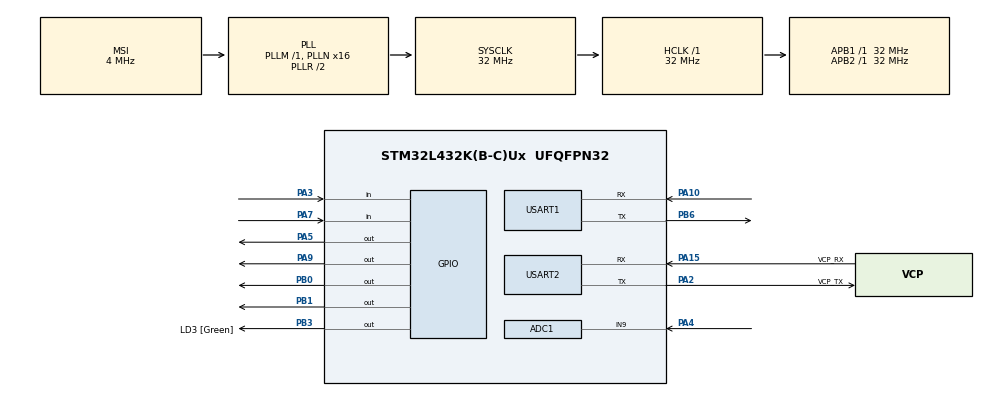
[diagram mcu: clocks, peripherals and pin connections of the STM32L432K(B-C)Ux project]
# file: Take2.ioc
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ADC1.Channel-0\#ChannelRegularConversion=ADC_CHANNEL_9
ADC1.ContinuousConvMode=ENABLE
ADC1.DMAContinuousRequests=DISABLE
ADC1.EOCSelection=ADC_EOC_SINGLE_CONV
ADC1.NbrOfConversion=1
ADC1.NbrOfConversionFlag=1
ADC1.OffsetNumber-0\#ChannelRegularConversion=ADC_OFFSET_NONE
ADC1.Overrun=ADC_OVR_DATA_OVERWRITTEN
ADC1.Rank-0\#ChannelRegularConversion=1
ADC1.SamplingTime-0\#ChannelRegularConversion=ADC_SAMPLETIME_2CYCLES_5
ADC1.master=1
Mcu.Family=STM32L4
Mcu.Name=STM32L432K(B-C)Ux
Mcu.Package=UFQFPN32
NVIC.PriorityGroup=NVIC_PRIORITYGROUP_4
PA0.GPIO_Label=MCO [High speed clock in]
PA0.Signal=RCC_CK_IN
PA10.Mode=Asynchronous
PA10.Signal=USART1_RX
PA13\ (JTMS-SWDIO).GPIO_Label=SWDIO
PA13\ (JTMS-SWDIO).Mode=Serial_Wire
PA13\ (JTMS-SWDIO).Signal=SYS_JTMS-SWDIO
PA14\ (JTCK-SWCLK).GPIO_Label=SWCLK
PA14\ (JTCK-SWCLK).Mode=Serial_Wire
PA14\ (JTCK-SWCLK).Signal=SYS_JTCK-SWCLK
PA15\ (JTDI).GPIO_Label=VCP_RX
PA15\ (JTDI).Mode=Asynchronous
PA15\ (JTDI).Signal=USART2_RX
PA2.GPIO_Label=VCP_TX
PA2.Mode=Asynchronous
PA2.Signal=USART2_TX
PA3.Signal=GPIO_Input
PA4.Signal=ADCx_IN9
PA5.Signal=GPIO_Output
PA7.Signal=GPIO_Input
PA9.Signal=GPIO_Output
PB0.Signal=GPIO_Output
PB1.Signal=GPIO_Output
PB3\ (JTDO-TRACESWO).GPIO_Label=LD3 [Green]
PB3\ (JTDO-TRACESWO).Signal=GPIO_Output
PB6.Mode=Asynchronous
PB6.Signal=USART1_TX
PC14-OSC32_IN\ (PC14).Mode=LSE-External-Oscillator
PC14-OSC32_IN\ (PC14).Signal=RCC_OSC32_IN
PC15-OSC32_OUT\ (PC15).Mode=LSE-External-Oscillator
PC15-OSC32_OUT\ (PC15).Signal=RCC_OSC32_OUT
ProjectManager.HeapSize=0x200
ProjectManager.StackSize=0x400
ProjectManager.TargetToolchain=MDK-ARM V5.27
RCC.ADCFreq_Value=32000000
RCC.AHBFreq_Value=32000000
RCC.APB1Freq_Value=32000000
RCC.APB1TimFreq_Value=32000000
RCC.APB2Freq_Value=32000000
RCC.APB2TimFreq_Value=32000000
RCC.CortexFreq_Value=32000000
RCC.HCLKFreq_Value=32000000
RCC.HSE_VALUE=8000000
RCC.HSI16_VALUE=16000000
RCC.HSI48_VALUE=48000000
RCC.HSI_VALUE=16000000
RCC.MSI_VALUE=4000000
RCC.PLLMUL=RCC_PLLMUL_4
RCC.PLLN=16
RCC.PLLSAI1N=16
RCC.SYSCLKFreq_VALUE=32000000
RCC.SYSCLKSource=RCC_SYSCLKSOURCE_PLLCLK
RCC.USBFreq_Value=32000000
RCC.VCOOutputFreq_Value=64000000
SH.ADCx_IN9.0=ADC1_IN9,IN9-Single-Ended
USART1.VirtualMode-Asynchronous=VM_ASYNC
USART2.VirtualMode-Asynchronous=VM_ASYNC
board=NUCLEO-L432KC

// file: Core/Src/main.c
/* USER CODE BEGIN Header */
/**
  ******************************************************************************
  * @file           : main.c
  * @brief          : Main program body
  ******************************************************************************
  * @attention
  *
  * <h2><center>&copy; Copyright (c) 2023 STMicroelectronics.
  * All rights reserved.</center></h2>
  *
  * This software component is licensed by ST under BSD 3-Clause license,
  * the "License"; You may not use this file except in compliance with the
  * License. You may obtain a copy of the License at:
  *                        opensource.org/licenses/BSD-3-Clause
  *
  ******************************************************************************
  */
/* USER CODE END Header */
#include "main.h"

/* USER CODE BEGIN Includes */
#include "stdio.h"
#include "MY_DHT22.h"
#include "stm32l4xx_hal.h"
/* USER CODE END Includes */

ADC_HandleTypeDef hadc1;

UART_HandleTypeDef huart1;
UART_HandleTypeDef huart2;

/* USER CODE BEGIN PV */

uint8_t temp;
char uartbuf[50];
char uartbuf3[100];
uint8_t readValue;
uint8_t readValue2;
int LS;
//uint32_t value[2];
/* USER CODE END PV */

void SystemClock_Config(void);
static void MX_GPIO_Init(void);
static void MX_USART2_UART_Init(void);
static void MX_ADC1_Init(void);
static void MX_USART1_UART_Init(void);

/* USER CODE BEGIN 0 */
  float tempy,humidity;
	char uartData[50];
	char uartData2[50];
/* USER CODE END 0 */

int main(void)
{

  /* MCU Configuration--------------------------------------------------------*/

  /* Reset of all peripherals, Initializes the Flash interface and the Systick. */
  HAL_Init();

  /* Configure the system clock */
  SystemClock_Config();

  /* Initialize all configured peripherals */
  MX_GPIO_Init();
  MX_USART2_UART_Init();
  MX_ADC1_Init();
  MX_USART1_UART_Init();
  /* USER CODE BEGIN 2 */
	HAL_ADC_Start(&hadc1);
	HAL_GPIO_WritePin(GPIOB, GPIO_PIN_1,GPIO_PIN_RESET);
	HAL_GPIO_WritePin(GPIOB, GPIO_PIN_0,GPIO_PIN_RESET);
	/*if (HAL_I2C_IsDeviceReady(&hi2c1, 0xD0, 10, HAL_MAX_DELAY) == HAL_OK){
		 for (int i = 1; i<=10;i++) // indicator of ready device
		 {
			 HAL_GPIO_TogglePin(GPIOB, GPIO_PIN_3);
			 HAL_Delay(250);
		 }}

	uint8_t temphigh[2],templow[2];
	char uartBuf[2];*/
	DHT22_Init(GPIOA,GPIO_PIN_5);

  /* USER CODE END 2 */

  /* Infinite loop */
  /* USER CODE BEGIN WHILE */
  while (1)
  {

		if(DHT22_GetTemp_Humidity(&tempy, &humidity) == 1)
		{
			if(tempy<=30.0f && humidity <= 90.0f){
				HAL_GPIO_WritePin(GPIOB, GPIO_PIN_1,GPIO_PIN_SET);
				//HAL_GPIO_TogglePin(GPIOB, GPIO_PIN_1);
			}
			else{
				HAL_GPIO_WritePin(GPIOB, GPIO_PIN_1,GPIO_PIN_RESET);
			}
			sprintf(uartData, "\r\nTemp (C) =\t %.1f\r\nHumidity (%%) =\t %.1f%%\r\n", tempy, humidity);
			HAL_UART_Transmit(&huart2, (uint8_t *)uartData, sizeof(uartData), 10);

		}
		else
		{
			sprintf(uartData, "\r\nCRC Error!\r\n");
			HAL_UART_Transmit(&huart2, (uint8_t *)uartData, sizeof(uartData), 10);
		}
			//	HAL_GPIO_WritePin(GPIOB, GPIO_PIN_1,GPIO_PIN_SET);

		HAL_ADC_PollForConversion(&hadc1,1000);
		readValue= HAL_ADC_GetValue(&hadc1);
		HAL_GPIO_WritePin(GPIOB, GPIO_PIN_0,GPIO_PIN_RESET);
		if(readValue <= 150)
		{
				HAL_GPIO_WritePin(GPIOB, GPIO_PIN_0,GPIO_PIN_SET);
		}
		else
		{
				HAL_GPIO_WritePin(GPIOB, GPIO_PIN_0,GPIO_PIN_RESET);
		}
		sprintf(uartbuf, "Soil VWC = %d\r\n",readValue);
		HAL_UART_Transmit(&huart2, (uint8_t *)uartbuf, sizeof(uartbuf), 10);

		HAL_UART_Receive(&huart1,&readValue2,sizeof(readValue2),10);
		sprintf(uartbuf3, "Light Sensitivity = %d\r\n",readValue2);

		HAL_UART_Transmit(&huart2, (uint8_t *)uartbuf3, sizeof(uartbuf3), 10);

//		HAL_ADC_PollForConversion(&hadc1,1000);
//		readValue= HAL_ADC_GetValue(&hadc1);
//		sprintf(uartbuf, "Light Intensity = %d\r\n",readValue);
//		HAL_UART_Transmit(&huart2, (uint8_t *)uartbuf, sizeof(uartbuf), 10);

//		LS=HAL_GPIO_ReadPin(GPIOA,GPIO_PIN_3);
//			sprintf(uartData2, "Light Detection = %d\r\n",LS );
//			HAL_UART_Transmit(&huart2, (uint8_t *)uartData2, sizeof(uartData2), 10);

		//Switch on the bulb - Activate relay
		HAL_Delay(1000);
    /* USER CODE END WHILE */

  }
}

void SystemClock_Config(void)
{
  RCC_OscInitTypeDef RCC_OscInitStruct = {0};
  RCC_ClkInitTypeDef RCC_ClkInitStruct = {0};
  RCC_PeriphCLKInitTypeDef PeriphClkInit = {0};

  /** Configure LSE Drive Capability
  */
  HAL_PWR_EnableBkUpAccess();
  __HAL_RCC_LSEDRIVE_CONFIG(RCC_LSEDRIVE_LOW);
  /** Initializes the RCC Oscillators according to the specified parameters
  * in the RCC_OscInitTypeDef structure.
  */
  RCC_OscInitStruct.OscillatorType = RCC_OSCILLATORTYPE_LSE|RCC_OSCILLATORTYPE_MSI;
  RCC_OscInitStruct.LSEState = RCC_LSE_ON;
  RCC_OscInitStruct.MSIState = RCC_MSI_ON;
  RCC_OscInitStruct.MSICalibrationValue = 0;
  RCC_OscInitStruct.MSIClockRange = RCC_MSIRANGE_6;
  RCC_OscInitStruct.PLL.PLLState = RCC_PLL_ON;
  RCC_OscInitStruct.PLL.PLLSource = RCC_PLLSOURCE_MSI;
  RCC_OscInitStruct.PLL.PLLM = 1;
  RCC_OscInitStruct.PLL.PLLN = 16;
  RCC_OscInitStruct.PLL.PLLP = RCC_PLLP_DIV7;
  RCC_OscInitStruct.PLL.PLLQ = RCC_PLLQ_DIV2;
  RCC_OscInitStruct.PLL.PLLR = RCC_PLLR_DIV2;
  if (HAL_RCC_OscConfig(&RCC_OscInitStruct) != HAL_OK)
  {
    Error_Handler();
  }
  /** Initializes the CPU, AHB and APB buses clocks
  */
  RCC_ClkInitStruct.ClockType = RCC_CLOCKTYPE_HCLK|RCC_CLOCKTYPE_SYSCLK
                              |RCC_CLOCKTYPE_PCLK1|RCC_CLOCKTYPE_PCLK2;
  RCC_ClkInitStruct.SYSCLKSource = RCC_SYSCLKSOURCE_PLLCLK;
  RCC_ClkInitStruct.AHBCLKDivider = RCC_SYSCLK_DIV1;
  RCC_ClkInitStruct.APB1CLKDivider = RCC_HCLK_DIV1;
  RCC_ClkInitStruct.APB2CLKDivider = RCC_HCLK_DIV1;

  if (HAL_RCC_ClockConfig(&RCC_ClkInitStruct, FLASH_LATENCY_1) != HAL_OK)
  {
    Error_Handler();
  }
  PeriphClkInit.PeriphClockSelection = RCC_PERIPHCLK_USART1|RCC_PERIPHCLK_USART2
                              |RCC_PERIPHCLK_ADC;
  PeriphClkInit.Usart1ClockSelection = RCC_USART1CLKSOURCE_PCLK2;
  PeriphClkInit.Usart2ClockSelection = RCC_USART2CLKSOURCE_PCLK1;
  PeriphClkInit.AdcClockSelection = RCC_ADCCLKSOURCE_PLLSAI1;
  PeriphClkInit.PLLSAI1.PLLSAI1Source = RCC_PLLSOURCE_MSI;
  PeriphClkInit.PLLSAI1.PLLSAI1M = 1;
  PeriphClkInit.PLLSAI1.PLLSAI1N = 16;
  PeriphClkInit.PLLSAI1.PLLSAI1P = RCC_PLLP_DIV7;
  PeriphClkInit.PLLSAI1.PLLSAI1Q = RCC_PLLQ_DIV2;
  PeriphClkInit.PLLSAI1.PLLSAI1R = RCC_PLLR_DIV2;
  PeriphClkInit.PLLSAI1.PLLSAI1ClockOut = RCC_PLLSAI1_ADC1CLK;
  if (HAL_RCCEx_PeriphCLKConfig(&PeriphClkInit) != HAL_OK)
  {
    Error_Handler();
  }
  /** Configure the main internal regulator output voltage
  */
  if (HAL_PWREx_ControlVoltageScaling(PWR_REGULATOR_VOLTAGE_SCALE1) != HAL_OK)
  {
    Error_Handler();
  }
  /** Enable MSI Auto calibration
  */
  HAL_RCCEx_EnableMSIPLLMode();
}

static void MX_ADC1_Init(void)
{

  ADC_ChannelConfTypeDef sConfig = {0};

  /** Common config
  */
  hadc1.Instance = ADC1;
  hadc1.Init.ClockPrescaler = ADC_CLOCK_ASYNC_DIV1;
  hadc1.Init.Resolution = ADC_RESOLUTION_12B;
  hadc1.Init.DataAlign = ADC_DATAALIGN_RIGHT;
  hadc1.Init.ScanConvMode = ADC_SCAN_DISABLE;
  hadc1.Init.EOCSelection = ADC_EOC_SINGLE_CONV;
  hadc1.Init.LowPowerAutoWait = DISABLE;
  hadc1.Init.ContinuousConvMode = ENABLE;
  hadc1.Init.NbrOfConversion = 1;
  hadc1.Init.DiscontinuousConvMode = DISABLE;
  hadc1.Init.ExternalTrigConv = ADC_SOFTWARE_START;
  hadc1.Init.ExternalTrigConvEdge = ADC_EXTERNALTRIGCONVEDGE_NONE;
  hadc1.Init.DMAContinuousRequests = DISABLE;
  hadc1.Init.Overrun = ADC_OVR_DATA_OVERWRITTEN;
  hadc1.Init.OversamplingMode = DISABLE;
  if (HAL_ADC_Init(&hadc1) != HAL_OK)
  {
    Error_Handler();
  }
  /** Configure Regular Channel
  */
  sConfig.Channel = ADC_CHANNEL_9;
  sConfig.Rank = ADC_REGULAR_RANK_1;
  sConfig.SamplingTime = ADC_SAMPLETIME_2CYCLES_5;
  sConfig.SingleDiff = ADC_SINGLE_ENDED;
  sConfig.OffsetNumber = ADC_OFFSET_NONE;
  sConfig.Offset = 0;
  if (HAL_ADC_ConfigChannel(&hadc1, &sConfig) != HAL_OK)
  {
    Error_Handler();
  }

}

static void MX_USART1_UART_Init(void)
{

  huart1.Instance = USART1;
  huart1.Init.BaudRate = 9600;
  huart1.Init.WordLength = UART_WORDLENGTH_8B;
  huart1.Init.StopBits = UART_STOPBITS_1;
  huart1.Init.Parity = UART_PARITY_NONE;
  huart1.Init.Mode = UART_MODE_TX_RX;
  huart1.Init.HwFlowCtl = UART_HWCONTROL_NONE;
  huart1.Init.OverSampling = UART_OVERSAMPLING_16;
  huart1.Init.OneBitSampling = UART_ONE_BIT_SAMPLE_DISABLE;
  huart1.AdvancedInit.AdvFeatureInit = UART_ADVFEATURE_NO_INIT;
  if (HAL_UART_Init(&huart1) != HAL_OK)
  {
    Error_Handler();
  }

}

static void MX_USART2_UART_Init(void)
{

  huart2.Instance = USART2;
  huart2.Init.BaudRate = 115200;
  huart2.Init.WordLength = UART_WORDLENGTH_8B;
  huart2.Init.StopBits = UART_STOPBITS_1;
  huart2.Init.Parity = UART_PARITY_NONE;
  huart2.Init.Mode = UART_MODE_TX_RX;
  huart2.Init.HwFlowCtl = UART_HWCONTROL_NONE;
  huart2.Init.OverSampling = UART_OVERSAMPLING_16;
  huart2.Init.OneBitSampling = UART_ONE_BIT_SAMPLE_DISABLE;
  huart2.AdvancedInit.AdvFeatureInit = UART_ADVFEATURE_NO_INIT;
  if (HAL_UART_Init(&huart2) != HAL_OK)
  {
    Error_Handler();
  }

}

static void MX_GPIO_Init(void)
{
  GPIO_InitTypeDef GPIO_InitStruct = {0};

  /* GPIO Ports Clock Enable */
  __HAL_RCC_GPIOC_CLK_ENABLE();
  __HAL_RCC_GPIOA_CLK_ENABLE();
  __HAL_RCC_GPIOB_CLK_ENABLE();

  /*Configure GPIO pin Output Level */
  HAL_GPIO_WritePin(GPIOA, GPIO_PIN_5|GPIO_PIN_9, GPIO_PIN_RESET);

  /*Configure GPIO pin Output Level */
  HAL_GPIO_WritePin(GPIOB, GPIO_PIN_0|GPIO_PIN_1|LD3_Pin, GPIO_PIN_RESET);

  /*Configure GPIO pins : PA3 PA7 */
  GPIO_InitStruct.Pin = GPIO_PIN_3|GPIO_PIN_7;
  GPIO_InitStruct.Mode = GPIO_MODE_INPUT;
  GPIO_InitStruct.Pull = GPIO_NOPULL;
  HAL_GPIO_Init(GPIOA, &GPIO_InitStruct);

  /*Configure GPIO pins : PA5 PA9 */
  GPIO_InitStruct.Pin = GPIO_PIN_5|GPIO_PIN_9;
  GPIO_InitStruct.Mode = GPIO_MODE_OUTPUT_PP;
  GPIO_InitStruct.Pull = GPIO_NOPULL;
  GPIO_InitStruct.Speed = GPIO_SPEED_FREQ_LOW;
  HAL_GPIO_Init(GPIOA, &GPIO_InitStruct);

  /*Configure GPIO pins : PB0 PB1 LD3_Pin */
  GPIO_InitStruct.Pin = GPIO_PIN_0|GPIO_PIN_1|LD3_Pin;
  GPIO_InitStruct.Mode = GPIO_MODE_OUTPUT_PP;
  GPIO_InitStruct.Pull = GPIO_NOPULL;
  GPIO_InitStruct.Speed = GPIO_SPEED_FREQ_LOW;
  HAL_GPIO_Init(GPIOB, &GPIO_InitStruct);

}

void Error_Handler(void)
{
  __disable_irq();
  while (1)
  {
  }
}

/************************ (C) COPYRIGHT STMicroelectronics *****END OF FILE****/
